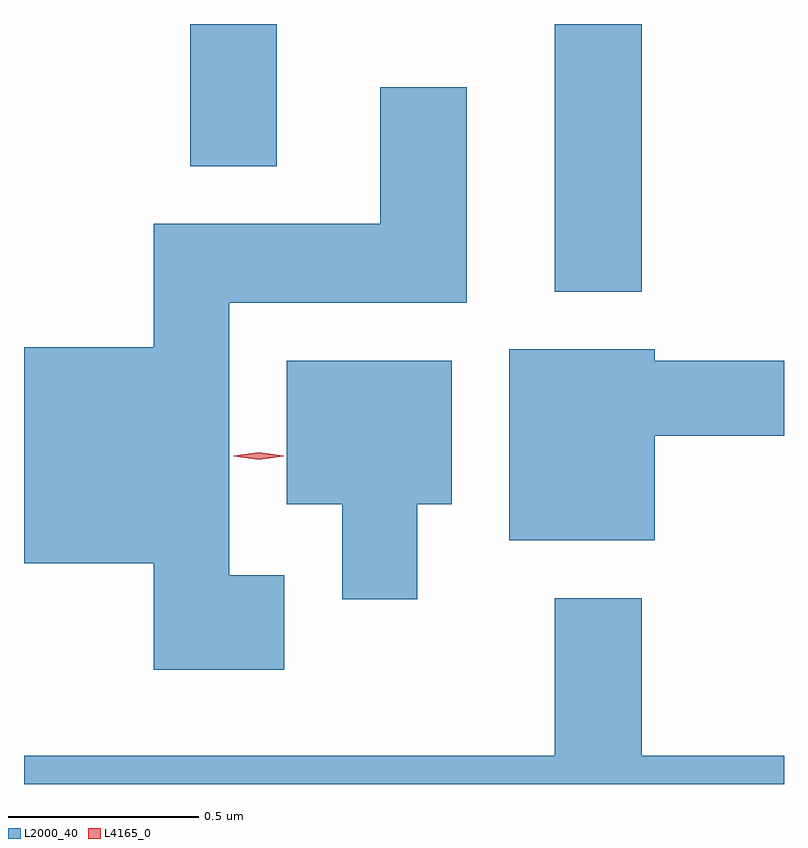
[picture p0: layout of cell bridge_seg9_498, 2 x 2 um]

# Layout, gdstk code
import gdstk
lib = gdstk.Library(unit=1e-6, precision=1e-09)
def R(c, l, rs):  # rectangles x0, y0, x1, y1
    for r in rs: c.add(gdstk.rectangle(r[:2], r[2:], *l))
def P(c, l, *ps):  # polygons
    for p in ps: c.add(gdstk.Polygon(p, *l))
L2000_40 = (2000, 40)
L4165_0 = (4165, 0)

bridge_seg9_498 = lib.new_cell('bridge_seg9_498')
R(bridge_seg9_498, L2000_40, [(469.801,1993.306,470.029,1994.01), (468.841,1993.636,469.069,1994.01)])
P(bridge_seg9_498, L2000_40, [(469.089,1992.559),(468.944,1992.559),(468.944,1993.276),(469.569,1993.276),(469.569,1993.844),(469.341,1993.844),(469.341,1993.484),(468.746,1993.484),(468.746,1993.159),(468.404,1993.159),(468.404,1992.591),(468.746,1992.591),(468.746,1992.311),(469.089,1992.311)],
  [(470.064,1992.926),(470.404,1992.926),(470.404,1993.124),(470.064,1993.124),(470.064,1993.154),(469.681,1993.154),(469.681,1992.651),(470.064,1992.651)],
  [(469.439,1992.746),(469.529,1992.746),(469.529,1993.124),(469.096,1993.124),(469.096,1992.746),(469.241,1992.746),(469.241,1992.496),(469.439,1992.496)],
  [(470.404,1992.084),(470.029,1992.084),(470.029,1992.499),(469.801,1992.499),(469.801,1992.084),(468.404,1992.084),(468.404,1992.01),(470.404,1992.01)])
P(bridge_seg9_498, L4165_0, [(469.022,1992.863),(468.956,1992.873),(468.956,1992.873),(468.956,1992.874),(469.022,1992.883),(469.088,1992.874),(469.088,1992.873),(469.088,1992.873)])

lib.write_gds('bridge_seg9_498.gds')
